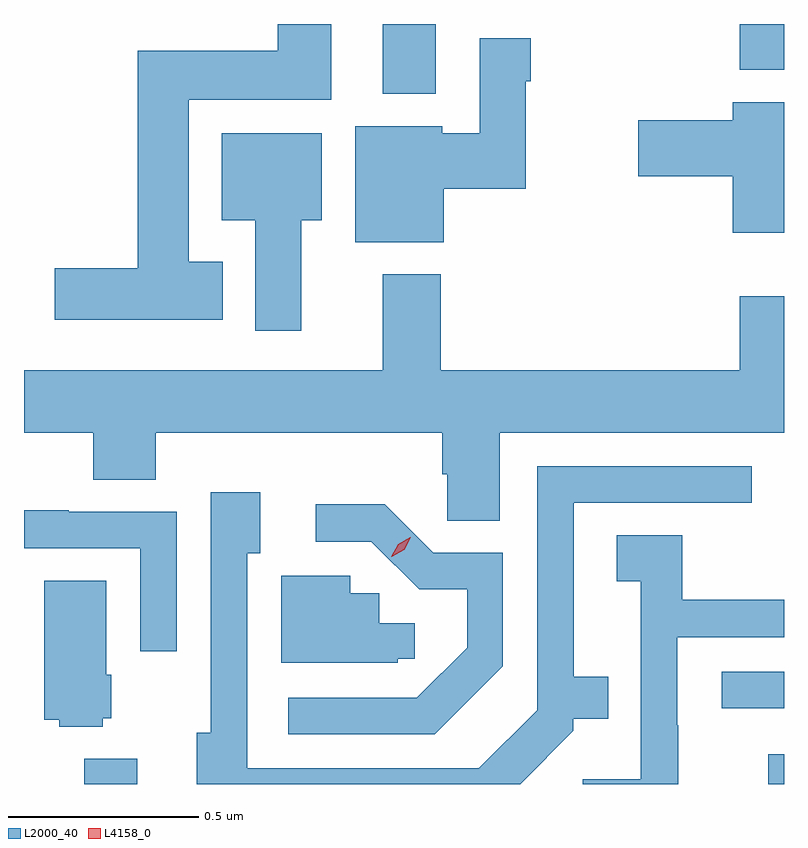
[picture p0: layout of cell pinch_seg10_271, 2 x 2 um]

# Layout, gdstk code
import gdstk
lib = gdstk.Library(unit=1e-6, precision=1e-09)
def R(c, l, rs):  # rectangles x0, y0, x1, y1
    for r in rs: c.add(gdstk.rectangle(r[:2], r[2:], *l))
def P(c, l, *ps):  # polygons
    for p in ps: c.add(gdstk.Polygon(p, *l))
L2000_40 = (2000, 40)
L4158_0 = (4158, 0)

pinch_seg10_271 = lib.new_cell('pinch_seg10_271')
R(pinch_seg10_271, L2000_40, [(628.523,1298.059,628.663,1298.125), (630.323,1298.059,630.365,1298.137), (630.201,1298.259,630.365,1298.355), (629.309,1299.875,629.449,1300.059), (630.248,1299.938,630.365,1300.059)])
P(pinch_seg10_271, L2000_40, [(628.888,1299.433),(628.798,1299.433),(628.798,1299.86),(629.173,1299.86),(629.173,1300.059),(629.033,1300.059),(629.033,1299.988),(628.664,1299.988),(628.664,1299.416),(628.446,1299.416),(628.446,1299.281),(628.888,1299.281)],
  [(629.47,1299.625),(629.686,1299.625),(629.686,1299.908),(629.699,1299.908),(629.699,1300.021),(629.564,1300.021),(629.564,1299.772),(629.466,1299.772),(629.466,1299.79),(629.237,1299.79),(629.237,1299.485),(629.47,1299.485)],
  [(630.365,1299.853),(630.23,1299.853),(630.23,1299.806),(629.982,1299.806),(629.982,1299.659),(630.23,1299.659),(630.23,1299.51),(630.365,1299.51)],
  [(629.095,1299.542),(629.149,1299.542),(629.149,1299.772),(628.886,1299.772),(628.886,1299.542),(628.973,1299.542),(628.973,1299.252),(629.095,1299.252)],
  [(629.617,1298.984),(630.365,1298.984),(630.365,1299.343),(630.248,1299.343),(630.248,1299.148),(629.462,1299.148),(629.462,1299.4),(629.309,1299.4),(629.309,1299.148),(628.365,1299.148),(628.365,1298.984),(628.547,1298.984),(628.547,1298.86),(628.712,1298.86),(628.712,1298.984),(629.465,1298.984),(629.465,1298.874),(629.479,1298.874),(629.479,1298.752),(629.617,1298.752)],
  [(629.811,1298.199),(629.811,1298.231),(629.903,1298.231),(629.903,1298.341),(629.812,1298.341),(629.812,1298.799),(630.28,1298.799),(630.28,1298.895),(629.715,1298.895),(629.715,1298.253),(629.562,1298.1),(628.953,1298.1),(628.953,1298.666),(628.987,1298.666),(628.987,1298.827),(628.857,1298.827),(628.857,1298.194),(628.82,1298.194),(628.82,1298.059),(629.671,1298.059)],
  [(629.625,1298.369),(629.625,1298.667),(629.442,1298.667),(629.314,1298.795),(629.133,1298.795),(629.133,1298.697),(629.279,1298.697),(629.405,1298.571),(629.531,1298.571),(629.531,1298.418),(629.399,1298.286),(629.061,1298.286),(629.061,1298.19),(629.446,1298.19)],
  [(628.767,1298.775),(628.483,1298.775),(628.483,1298.779),(628.365,1298.779),(628.365,1298.679),(628.671,1298.679),(628.671,1298.409),(628.767,1298.409)],
  [(630.087,1298.213),(630.084,1298.213),(630.084,1298.445),(630.365,1298.445),(630.365,1298.544),(630.097,1298.544),(630.097,1298.714),(629.925,1298.714),(629.925,1298.593),(629.988,1298.593),(629.988,1298.071),(629.835,1298.071),(629.835,1298.059),(630.087,1298.059)],
  [(629.349,1298.388),(629.393,1298.388),(629.393,1298.482),(629.3,1298.482),(629.3,1298.561),(629.223,1298.561),(629.223,1298.607),(629.042,1298.607),(629.042,1298.378),(629.349,1298.378)],
  [(628.572,1298.232),(628.594,1298.232),(628.594,1298.346),(628.582,1298.346),(628.582,1298.594),(628.418,1298.594),(628.418,1298.228),(628.458,1298.228),(628.458,1298.21),(628.572,1298.21)])
P(pinch_seg10_271, L4158_0, [(629.332,1298.657),(629.332,1298.657),(629.35,1298.69),(629.382,1298.709),(629.383,1298.709),(629.383,1298.709),(629.365,1298.676),(629.333,1298.657)])

lib.write_gds('pinch_seg10_271.gds')
